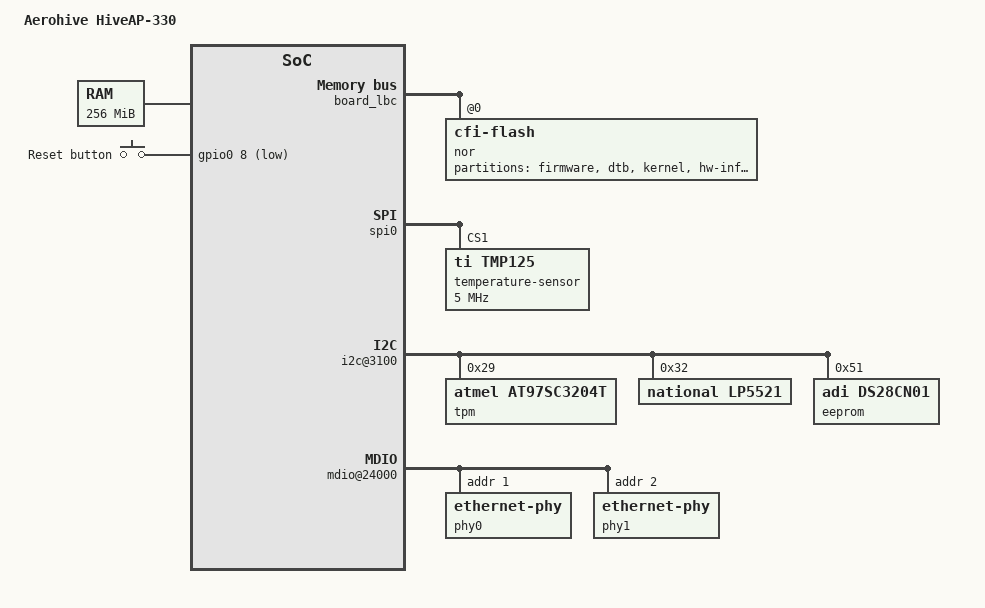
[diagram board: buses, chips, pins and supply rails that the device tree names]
/*
 * Aerohive HiveAP-330 Device Tree Source
 *
 * Copyright (C) 2017 Chris Blake <chrisrblake93@gmail.com>
 *
 * This program is free software; you can redistribute  it and/or modify it
 * under  the terms of  the GNU General  Public License as published by the
 * Free Software Foundation;  either version 2 of the  License, or (at your
 * option) any later version.
 */

#include <dt-bindings/leds/common.h>
#include <dt-bindings/input/input.h>
#include <dt-bindings/gpio/gpio.h>

/include/ "fsl/p1020si-pre.dtsi"
/ {
	model = "Aerohive HiveAP-330";
	compatible = "aerohive,hiveap-330";

	aliases {
		led-boot = &led_power_green;
		led-failsafe = &led_fault_red;
		led-running = &led_power_green;
		led-upgrade = &led_fault_red;
		label-mac-device = &enet0;
		spi0 = &spi0;
	};

	chosen {
		/*
		 * not yet implemented.
		 * stdout-path = &serial0 ":9600n8";
		 * <https://www.spinics.net/lists/devicetree-compiler/msg02487.html>
		 *
		 * this should work... but it doesn't because CONFIG_CMDLINE in our
		 * OpenWrt's target config sets "console=ttyS0,115200"
		 * stdout-path = "/soc@ffe00000/serial@4500:9600n8";
		 */

		bootargs = "console=ttyS0,9600n8";
	};

	cpus {
		PowerPC,P1020@0 {
			i-cache-sets = <0x80>;
			i-cache-size = <0x8000>;
			i-cache-block-size = <0x20>;
			d-cache-sets = <0x80>;
			d-cache-size = <0x8000>;
			d-cache-block-size = <0x20>;
			clock-frequency = <533333328>; /* 533.33 MHz */
			bus-frequency = <266666664>;  /* 266.66 MHz */
			timebase-frequency = <33333333>; /* 33.33 MHz */
		};

		PowerPC,P1020@1 {
			i-cache-sets = <0x80>;
			i-cache-size = <0x8000>;
			i-cache-block-size = <0x20>;
			d-cache-sets = <0x80>;
			d-cache-size = <0x8000>;
			d-cache-block-size = <0x20>;
			cpu-release-addr = <0x00 0xffff240>;
			enable-method = "spin-table";
			status = "disabled";
			clock-frequency = <533333328>;
			bus-frequency = <266666664>;
			timebase-frequency = <33333333>;
		};
	};

	memory {
		#address-cells = <2>;
		#size-cells = <2>;

		reg = <0x00 0x00 0x00 0x10000000>;
		device_type = "memory";
	};

	/*
	 * Usually, u-boot provided /memreserve/ properties by adding them during boot.
	 * these have been converted to reserved-memory entries.
	 */
	reserved-memory {
		#address-cells = <2>;
		#size-cells = <2>;
		ranges;

		/*
		 * /memreserve/   0x0000000000ffa000 0x0000000000004000;
		 * The kernel complains when booting:
		 *
		 * | OF: fdt: Reserved memory: failed to reserve memory for node
		 *		'firmware@ffa000': base 0x00ffa000, size 0 MiB
		 *
		 * But this likely uboot's bootargs + modified DTB. And if so, we don't care.
		 * This is because we rely on our own dtb that's in the simpleImage.
		 *
		 * Note: This is backed up by u-boot. just before the kernel executes
		 *	 it prints this final line:
		 *	 |  Loading Device Tree to 00ff9000, end 00fff1c4 ... OK
		 *
		 * firmware@ffa000 {
		 *	reg = <0x0 0xffa000 0x0 0x4000>;
		 *	no-map;
		 * };
		 */

		// /memreserve/   0x000000000fe2f000 0x0000000000000021;
		firmware@fe2f000 {
			reg = <0x0 0xfe2f000 0x0 0x21>;
			no-map;
		};

		/*
		 * /memreserve/   0x000000000ffff000 0x0000000000001000;
		 * that's the spin-table - see second CPU core binding.
		 */
		firmware@ffff000 {
			reg = <0x0 0xffff000 0x0 0x1000>;
			no-map;
		};
	};

	board_lbc: lbc: localbus@ffe05000 {
		bus-frequency = <16666666>; /* 16.66 MHz */
		reg = <0 0xffe05000 0 0x1000>;
		ranges = <0x0 0x0 0x0 0xec000000 0x4000000>;

		nor@0 {
			compatible = "cfi-flash";
			reg = <0x0 0x0 0x4000000>;
			bank-width = <2>;
			device-width = <1>;

			partitions {
				compatible = "fixed-partitions";
				#address-cells = <1>;
				#size-cells = <1>;

				firmware@0 {
					reg = <0x0 0x3f00000>;
					label = "firmware";
					/*
					 * This unknown/invalid compatible prevents
					 * openwrt's mtdsplit_fit to go off a tangent if it
					 * finds a magic value inside the uncompressed kernel
					 * at a blocksized aligned place.
					 */
					compatible = "areohive,hiveap-330-image";
				};

				partition@0 {
					reg = <0x0 0x40000>;
					label = "dtb";
				};

				partition@40000 {
					compatible = "openwrt,uimage", "denx,uimage";
					reg = <0x40000 0x3ec0000>;
					label = "kernel";
				};

				partition@3f00000 {
					reg = <0x3f00000 0x20000>;
					label = "hw-info";
					read-only;

					nvmem-layout {
						compatible = "fixed-layout";
						#address-cells = <1>;
						#size-cells = <1>;

						macaddr_hwinfo_0: macaddr@0 {
							compatible = "mac-base";
							reg = <0x0 0x6>;
							#nvmem-cell-cells = <1>;
						};
					};
				};

				partition@3f20000 {
					reg = <0x3f20000 0x20000>;
					label = "boot-info";
					read-only;
				};

				partition@3f40000 {
					reg = <0x3f40000 0x20000>;
					label = "boot-info-backup";
					read-only;
				};

				partition@3f60000 {
					reg = <0x3f60000 0x20000>;
					label = "u-boot-env";
				};

				partition@3f80000 {
					reg = <0x3f80000 0x80000>;
					label = "u-boot";
					read-only;
				};
			};
		};
	};

	board_soc: soc: soc@ffe00000 {
		ranges = <0x0 0x0 0xffe00000 0x100000>;
		bus-frequency = <266666664>;

		spi0: spi@7000 {
			#address-cells = <1>;
			#size-cells = <0>;

			temperature-sensor@1 {
				compatible = "ti,tmp125";
				reg = <1>;
				spi-max-frequency = <5000000>;
			};
		};

		i2c@3100 {
			tpm@29 {
				compatible = "atmel,at97sc3204t";
				reg = <0x29>;
			};

			lp5521@32 {
				compatible = "national,lp5521";
				reg = <0x32>;
				clock-mode = /bits/ 8 <2>;
				#address-cells = <1>;
				#size-cells = <0>;

#if 1
				led_fault_red: led@0 {
					reg = <0>;
					chan-name = "fault:red";
					led-cur = /bits/ 8 <0x2f>;
					max-cur = /bits/ 8 <0x5f>;
					color = <LED_COLOR_ID_RED>;
					function = LED_FUNCTION_FAULT;
				};
				led_power_green: led@1 {
					reg = <1>;
					chan-name = "power:green";
					led-cur = /bits/ 8 <0x2f>;
					max-cur = /bits/ 8 <0x5f>;
					color = <LED_COLOR_ID_GREEN>;
					function = LED_FUNCTION_POWER;
				};
				led@2{
					reg = <2>;
					chan-name = "blue";
					led-cur = /bits/ 8 <0x2f>;
					max-cur = /bits/ 8 <0x5f>;
					color = <LED_COLOR_ID_BLUE>;
				};
#else
				/*
				 * openwrt isn't ready to handle multi-intensity leds yet
				 * # echo 255 255 255 > /sys/class/leds/tricolor/multi_intensity
				 * # echo 255 > /sys/class/leds/tricolor/brightness
				 */

				rgbled-0 {
					function = LED_FUNCTION_POWER;
					color = <LED_COLOR_ID_RGB>;
					#address-cells = <1>;
					#size-cells = <0>;

					led@0 {
						reg = <0>;
						chan-name = "tricolor";
						led-cur = /bits/ 8 <0x2f>;
						max-cur = /bits/ 8 <0x5f>;
						color = <LED_COLOR_ID_RED>;
					};
					led@1 {
						reg = <1>;
						chan-name = "tricolor";
						led-cur = /bits/ 8 <0x2f>;
						max-cur = /bits/ 8 <0x5f>;
						color = <LED_COLOR_ID_GREEN>;
					};
					led@2{
						reg = <2>;
						chan-name = "tricolor";
						led-cur = /bits/ 8 <0x2f>;
						max-cur = /bits/ 8 <0x5f>;
						color = <LED_COLOR_ID_BLUE>;
					};
				};
#endif
			};

			eeprom@51 {
				/*
				 * 1Kbit I2C/SMBus EEPROM with SHA-1 Engine
				 * Aerohive calls it "dallas".
				 */
				compatible = "adi,ds28cn01";
				reg = <0x51>;
				read-only;
			};
		};

		mdio@24000 {
			phy0: ethernet-phy@0 {
				/* interrupts = <3 1 0 0>; */
				reg = <0x1>;
			};

			phy1: ethernet-phy@1 {
				/* interrupts = <2 1 0 0>; */
				reg = <0x2>;
			};
		};

		mdio@25000 {
			status = "disabled";
		};

		mdio@26000 {
			status = "disabled";
		};

		enet0: ethernet@b0000 {
			rx-stash-idx = <0x00>;
			rx-stash-len = <0x60>;
			bd-stash;
			phy-handle = <&phy0>;
			phy-connection-type = "rgmii-id";
			nvmem-cells = <&macaddr_hwinfo_0 0>;
			nvmem-cell-names = "mac-address";
		};

		enet1: ethernet@b1000 {
			status = "disabled";
		};

		enet2: ethernet@b2000 {
			rx-stash-idx = <0x00>;
			rx-stash-len = <0x60>;
			bd-stash;
			phy-handle = <&phy1>;
			phy-connection-type = "rgmii-id";
			nvmem-cells = <&macaddr_hwinfo_0 1>;
			nvmem-cell-names = "mac-address";
		};

		gpio0: gpio-controller@fc00 {
		};

		usb@22000 {
			phy_type = "ulpi";
			dr_mode = "host";
		};

		usb@23000 {
			status = "disabled";
		};
	};

	pci0: pcie@ffe09000 {
		reg = <0x0 0xffe09000 0x0 0x1000>;
		ranges = <0x2000000 0x0 0xa0000000 0x0 0xa0000000 0x0 0x20000000>,
			 <0x1000000 0x0 0x00000000 0x0 0xffc30000 0x0 0x10000>;
		pcie@0 {
			ranges = <0x2000000 0x0 0xa0000000 0x2000000 0x0 0xa0000000 0x0 0x20000000>,
				 <0x1000000 0x0 0x00000000 0x1000000 0x0 0x00000000 0x0 0x00100000>;
		};
	};

	pci1: pcie@ffe0a000 {
		reg = <0x0 0xffe0a000 0x0 0x1000>;
		ranges = <0x2000000 0x0 0xc0000000 0x0 0xc0000000 0x0 0x20000000>,
			 <0x1000000 0x0 0x00000000 0x0 0xffc20000 0x0 0x10000>;

		pcie@0 {
			ranges = <0x2000000 0x0 0xc0000000 0x2000000 0x0 0xc0000000 0x0 0x20000000>,
				 <0x1000000 0x0 0x00000000 0x1000000 0x0 0x00000000 0x0 0x00100000>;
		};
	};

	buttons {
		compatible = "gpio-keys";

		reset {
			label = "Reset button";
			gpios = <&gpio0 8 GPIO_ACTIVE_LOW>;
			linux,code = <KEY_RESTART>;
		};
	};
};

/include/ "fsl/p1020si-post.dtsi"
&serial0 {
	clock-frequency = <266666664>;
};

&serial1 {
	clock-frequency = <266666664>;
};

/*
 * For the OpenWrt 22.03 release, since Linux 5.10.138 now uses
 * aliases to determine PCI domain numbers, drop aliases so as not to
 * change the sysfs path of our wireless netdevs.
 */

/ {
	aliases {
		/delete-property/ pci0;
		/delete-property/ pci1;
	};
};
